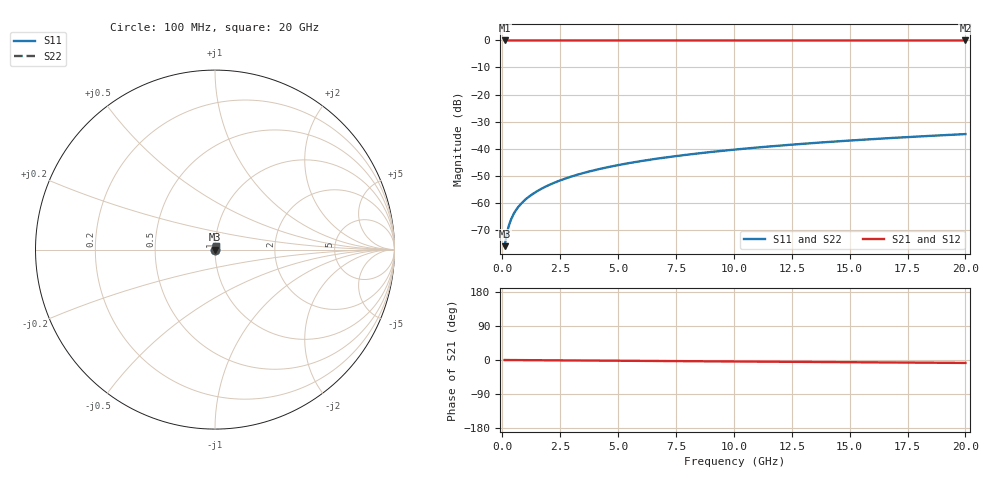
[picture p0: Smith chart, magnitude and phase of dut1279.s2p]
! Touchstone file exported from HFSS 2026.1.0
!  File:  C:/ffzhzh/LocalFiles/Ansys_Project_Files/temp_train_TSV_1279_1783194309_43440.aedt
!  Generated:  03:46:49 AM Jul  5, 2026
!  Design:  TSV
!  Project:  temp_train_TSV_1279_1783194309_43440
! Variables:
!  h_bsmrdl = 2um
!  h_ox = 20um
!  h_rdl = 5um
!  h_sub = 72.89um
!  h_tmrdl = 5um
!  h_tsv = 72.89um
!  h_via = 3um
!  l_bsmrdl = 300um
!  l_sub = 424.16um
!  l_tmrdl = 200um
!  m_sub = 200um
!  pitch = 55.95um
!  r_tsv = 12.08um
!  s_tmrdl = 10um
!  w_bsmrdl = 18um
!  w_sub = 500um
!  w_tmrdl = 12um
!  x_tsv_center1 = 206um
!  x_tsv_center2 = 524um
!  x_tsv_center3 = 736um
!  x_tsv_center4 = 1054um
!  x_tsv_center5 = 1266um
!  x_tsv_center6 = 1584um
# GHz S MA R 50.000000
! Terminal data exported
! Port[1] = TSV1_1_T1
! Port[2] = TSV1_1_T2
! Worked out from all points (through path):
!   200 points, 100 MHz to 20 GHz, reference 50 ohm
!   highest |S21| = 0.00 dB at 100 MHz (marker M1); lowest = 0.0 dB at 20 GHz (marker M2)
!   group delay of S21, straight-line fit = 1.08 ps
!   lowest |S11| = -76.1 dB at 100 MHz (marker M3), VSWR 1.00, Z = 50 + j0.013 ohm
!   |S11| at or under -10 dB: start of sweep to end of sweep
!   |S22| runs from -76.1 to -34.6 dB; largest |S21 - S12| = 5.9e-15
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0.1  0.0001572 55.8  0.9999 -0.0  0.9999 -0.0  0.0001572 55.8
! Gamma 0 0 0 0
! Port Impedance 50 0 50 0
0.2  0.0002759 68.9  0.9999 -0.1  0.9999 -0.1  0.0002759 68.9
0.3  0.0003975 73.0  0.9999 -0.1  0.9999 -0.1  0.0003975 73.0
0.4  0.0005157 74.7  0.9999 -0.2  0.9999 -0.2  0.0005157 74.7
0.5  0.0006294 75.6  0.9998 -0.2  0.9998 -0.2  0.0006294 75.6
0.6  0.0007387 76.1  0.9998 -0.2  0.9998 -0.2  0.0007387 76.1
0.7  0.0008443 76.4  0.9998 -0.3  0.9998 -0.3  0.0008443 76.4
0.9  0.001047 77.1  0.9998 -0.4  0.9998 -0.4  0.001047 77.1
1.1  0.001244 77.8  0.9997 -0.4  0.9997 -0.4  0.001244 77.8
1.3  0.001437 78.4  0.9997 -0.5  0.9997 -0.5  0.001437 78.4
1.6  0.001724 79.2  0.9997 -0.6  0.9997 -0.6  0.001724 79.2
1.9  0.002011 79.9  0.9997 -0.7  0.9997 -0.7  0.002011 79.9
2.6  0.002681 81.0  0.9996 -1.0  0.9996 -1.0  0.002681 81.0
3.5  0.00354 81.8  0.9996 -1.4  0.9996 -1.4  0.00354 81.8
4.2  0.004203 82.0  0.9995 -1.6  0.9995 -1.6  0.004203 82.0
5  0.004956 82.2  0.9995 -2.0  0.9995 -2.0  0.004956 82.2
6.8  0.006631 82.2  0.9994 -2.7  0.9994 -2.7  0.006631 82.2
8.3  0.008013 82.1  0.9993 -3.2  0.9993 -3.2  0.008013 82.1
10.1  0.009661 81.8  0.9992 -3.9  0.9992 -3.9  0.009661 81.8
13.4  0.01266 81.0  0.9991 -5.2  0.9991 -5.2  0.01266 81.0
16.7  0.01563 80.1  0.999 -6.5  0.999 -6.5  0.01563 80.1
20  0.01857 79.1  0.9988 -7.8  0.9988 -7.8  0.01857 79.1
